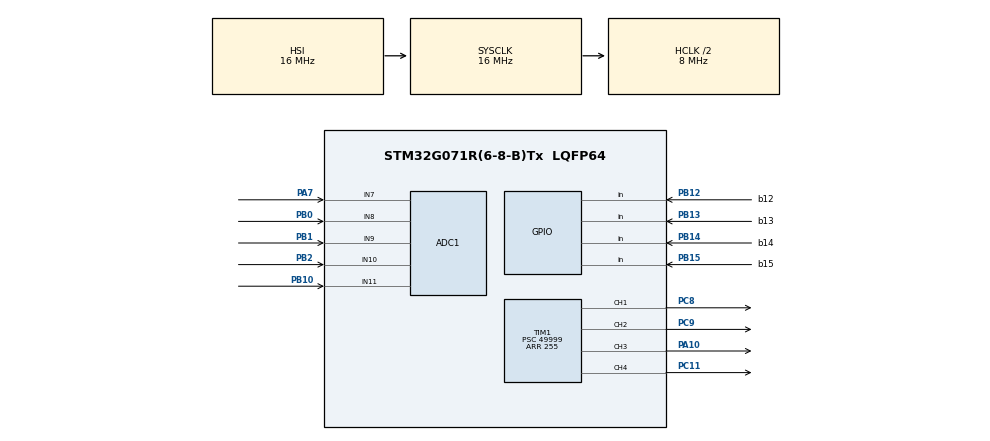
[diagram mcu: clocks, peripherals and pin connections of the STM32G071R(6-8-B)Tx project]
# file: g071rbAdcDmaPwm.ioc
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Mcu.Family=STM32G0
SH.S_TIM1_CH4.0=TIM1_CH4,PWM Generation4 CH4
RCC.CortexFreq_Value=8000000
PB10.Mode=IN11
ADC1.ContinuousConvMode=ENABLE
Dma.ADC1.0.Polarity=HAL_DMAMUX_REQ_GEN_RISING
PB14.GPIO_Label=b14
PA14-BOOT0.Mode=Serial_Wire
PC15-OSC32_OUT\ (PC15).Mode=LSE-External-Oscillator
PB13.GPIO_Label=b13
PB13.Signal=GPIO_Input
PB15.Signal=GPIO_Input
PF0-OSC_IN\ (PF0).Signal=RCC_OSC_IN
ProjectManager.StackSize=0x400
PC14-OSC32_IN\ (PC14).Mode=LSE-External-Oscillator
TIM1.Prescaler=49999
ADC1.Channel-5\#ChannelRegularConversion=ADC_CHANNEL_11
TIM1.Channel-PWM\ Generation4\ CH4=TIM_CHANNEL_4
ADC1.Channel-3\#ChannelRegularConversion=ADC_CHANNEL_9
RCC.HCLKFreq_Value=8000000
Dma.ADC1.0.Direction=DMA_PERIPH_TO_MEMORY
ADC1.Channel-2\#ChannelRegularConversion=ADC_CHANNEL_8
Dma.ADC1.0.MemDataAlignment=DMA_MDATAALIGN_WORD
RCC.AHBFreq_Value=8000000
PA14-BOOT0.Signal=SYS_SWCLK
RCC.HSE_VALUE=8000000
PB2.Signal=ADC1_IN10
PB12.GPIO_Label=b12
ADC1.SamplingTime-4\#ChannelRegularConversion=ADC_SAMPLINGTIME_COMMON_1
ADC1.Rank-2\#ChannelRegularConversion=2
TIM1.Channel-PWM\ Generation1\ CH1=TIM_CHANNEL_1
Dma.ADC1.0.PeriphInc=DMA_PINC_DISABLE
VP_SYS_VS_DBSignals.Mode=DisableDeadBatterySignals
ADC1.SelectedChannel=ADC_CHANNEL_7|ADC_CHANNEL_8|ADC_CHANNEL_9|ADC_CHANNEL_10|ADC_CHANNEL_11
Mcu.Package=LQFP64
PB1.Signal=ADC1_IN9
PA10.Signal=S_TIM1_CH3
TIM1.Period=255
Dma.Request0=ADC1
ADC1.EOCSelection=ADC_EOC_SEQ_CONV
Dma.ADC1.0.EventEnable=DISABLE
ADC1.Rank-4\#ChannelRegularConversion=4
Dma.ADC1.0.Instance=DMA1_Channel1
PA7.Mode=IN7
ADC1.Channel-4\#ChannelRegularConversion=ADC_CHANNEL_10
Dma.ADC1.0.SyncRequestNumber=1
PC11.Signal=S_TIM1_CH4
PC8.Signal=S_TIM1_CH1
RCC.EXTERNAL_CLOCK_VALUE=12288000
PC15-OSC32_OUT\ (PC15).Signal=RCC_OSC32_OUT
ADC1.SamplingTime-2\#ChannelRegularConversion=ADC_SAMPLINGTIME_COMMON_1
PF0-OSC_IN\ (PF0).Mode=HSE-External-Clock-Source
PA13.Signal=SYS_SWDIO
Dma.ADC1.0.PeriphDataAlignment=DMA_PDATAALIGN_WORD
SH.S_TIM1_CH1.0=TIM1_CH1,PWM Generation1 CH1
ProjectManager.TargetToolchain=STM32CubeIDE
Dma.ADC1.0.Mode=DMA_CIRCULAR
Dma.ADC1.0.SignalID=NONE
Dma.ADC1.0.SyncSignalID=NONE
Dma.ADC1.0.Priority=DMA_PRIORITY_LOW
ADC1.Channel-1\#ChannelRegularConversion=ADC_CHANNEL_7
TIM1.Channel-PWM\ Generation2\ CH2=TIM_CHANNEL_2
PB10.Signal=ADC1_IN11
PB14.Signal=GPIO_Input
PB0.Mode=IN8
board=NUCLEO-G071RB
RCC.VCOOutputFreq_Value=128000000
Dma.ADC1.0.SyncPolarity=HAL_DMAMUX_SYNC_NO_EVENT
SH.S_TIM1_CH2.0=TIM1_CH2,PWM Generation2 CH2
PB15.GPIO_Label=b15
RCC.AHBCLKDivider=RCC_SYSCLK_DIV2
ADC1.DMAContinuousRequests=ENABLE
ADC1.NbrOfConversion=5
PA13.Mode=Serial_Wire
Mcu.Name=STM32G071R(6-8-B)Tx
ADC1.SamplingTime-1\#ChannelRegularConversion=ADC_SAMPLINGTIME_COMMON_1
RCC.SYSCLKFreq_VALUE=16000000
ADC1.master=1
ADC1.Rank-3\#ChannelRegularConversion=3
ADC1.SamplingTime-3\#ChannelRegularConversion=ADC_SAMPLINGTIME_COMMON_1
PC14-OSC32_IN\ (PC14).Signal=RCC_OSC32_IN
PB2.Mode=IN10
ADC1.Rank-1\#ChannelRegularConversion=1
Dma.ADC1.0.RequestNumber=1
Dma.ADC1.0.SyncEnable=DISABLE
Dma.ADC1.0.MemInc=DMA_MINC_ENABLE
ProjectManager.HeapSize=0x200
PB1.Mode=IN9
SH.S_TIM1_CH3.0=TIM1_CH3,PWM Generation3 CH3
ADC1.SamplingTime-5\#ChannelRegularConversion=ADC_SAMPLINGTIME_COMMON_1
RCC.HSI_VALUE=16000000
ADC1.NbrOfConversionFlag=1
PC9.Signal=S_TIM1_CH2
NVIC.DMA1_Channel1_IRQn=true\:0\:0\:false\:false\:true\:false\:true
TIM1.Channel-PWM\ Generation3\ CH3=TIM_CHANNEL_3
PB0.Signal=ADC1_IN8
ADC1.Rank-5\#ChannelRegularConversion=5
PB12.Signal=GPIO_Input
PA7.Signal=ADC1_IN7

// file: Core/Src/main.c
/* USER CODE BEGIN Header */
/**
 ******************************************************************************
 * @file           : main.c
 * @brief          : Main program body
 ******************************************************************************
 * @attention
 *
 * <h2><center>&copy; Copyright (c) 2021 STMicroelectronics.
 * All rights reserved.</center></h2>
 *
 * This software component is licensed by ST under BSD 3-Clause license,
 * the "License"; You may not use this file except in compliance with the
 * License. You may obtain a copy of the License at:
 *                        opensource.org/licenses/BSD-3-Clause
 *
 ******************************************************************************
 */
/* USER CODE END Header */
#include "main.h"

/* USER CODE BEGIN PD */
/* map fonksiyonunun çıktı tipini belirler */
#define map_type_out uint8_t
/* map fonksiyonunun giriş tipini belirler */
#define map_type_in uint32_t
/* adc kanal sayısını belirler */
#define adc_chnl_num 5
/* timer kanal sayısını belirler */
#define tim_chnl_num 4
/* USER CODE END PD */

ADC_HandleTypeDef hadc1;
DMA_HandleTypeDef hdma_adc1;

TIM_HandleTypeDef htim1;

/* USER CODE BEGIN PV */
/* adc kanal sayısı kadar elemana sahip map fonksiyonunun girişi tipinde array belirler */
map_type_in adc[adc_chnl_num];
/* adc kanal sayısı kadar elemana sahip map fonksiyonunun çıkışı tipinde array belirler */
map_type_out deger[adc_chnl_num];
/* timer kanallarını içeren array */
uint32_t tim_chnl[tim_chnl_num]={TIM_CHANNEL_1,TIM_CHANNEL_2,TIM_CHANNEL_3,TIM_CHANNEL_4};
/* pwm çıkışını okuyan timer kanal sayısı kadar değere sahip array */
int tim_chnl_pin[tim_chnl_num];
/* gpion pinlerini içeren array */
uint16_t gpio_read_pin[tim_chnl_num]={b12_Pin,b13_Pin,b14_Pin,b15_Pin};
/* USER CODE END PV */

void SystemClock_Config(void);
static void MX_GPIO_Init(void);
static void MX_DMA_Init(void);
static void MX_ADC1_Init(void);
static void MX_TIM1_Init(void);
/* USER CODE BEGIN PFP */
/* adc tarama tamamlandı fonksiyonu */
void HAL_ADC_ConvCpltCallback(ADC_HandleTypeDef* hadc);
/* bir değerin sınırlarını değiştirmeye yarayan fonksiyon */
map_type_out map(map_type_in value, map_type_in iMin, map_type_in iMax, map_type_out oMin, map_type_out oMax);
/* USER CODE END PFP */

int main(void)
{

	/* MCU Configuration--------------------------------------------------------*/

	/* Reset of all peripherals, Initializes the Flash interface and the Systick. */
	HAL_Init();

	/* Configure the system clock */
	SystemClock_Config();

	/* Initialize all configured peripherals */
	MX_GPIO_Init();
	MX_DMA_Init();
	MX_ADC1_Init();
	MX_TIM1_Init();
	/* USER CODE BEGIN 2 */
	/* adc modülünü dma ile başlatma */
	HAL_ADC_Start_DMA(&hadc1, adc, adc_chnl_num);
	/* timer 1 içinde 4 adet kanalı pwm modunda başlatma */
	for (int i=0;i<tim_chnl_num;i++)
	{
		HAL_TIM_PWM_Start(&htim1, tim_chnl[i]);
	}
	/* USER CODE END 2 */

	/* Infinite loop */
	while (1)
	{

	}
}

void SystemClock_Config(void)
{
	RCC_OscInitTypeDef RCC_OscInitStruct = {0};
	RCC_ClkInitTypeDef RCC_ClkInitStruct = {0};
	RCC_PeriphCLKInitTypeDef PeriphClkInit = {0};

	/** Configure the main internal regulator output voltage
	 */
	HAL_PWREx_ControlVoltageScaling(PWR_REGULATOR_VOLTAGE_SCALE1);
	/** Initializes the RCC Oscillators according to the specified parameters
	 * in the RCC_OscInitTypeDef structure.
	 */
	RCC_OscInitStruct.OscillatorType = RCC_OSCILLATORTYPE_HSI;
	RCC_OscInitStruct.HSIState = RCC_HSI_ON;
	RCC_OscInitStruct.HSIDiv = RCC_HSI_DIV1;
	RCC_OscInitStruct.HSICalibrationValue = RCC_HSICALIBRATION_DEFAULT;
	RCC_OscInitStruct.PLL.PLLState = RCC_PLL_NONE;
	if (HAL_RCC_OscConfig(&RCC_OscInitStruct) != HAL_OK)
	{
		Error_Handler();
	}
	/** Initializes the CPU, AHB and APB buses clocks
	 */
	RCC_ClkInitStruct.ClockType = RCC_CLOCKTYPE_HCLK|RCC_CLOCKTYPE_SYSCLK
			|RCC_CLOCKTYPE_PCLK1;
	RCC_ClkInitStruct.SYSCLKSource = RCC_SYSCLKSOURCE_HSI;
	RCC_ClkInitStruct.AHBCLKDivider = RCC_SYSCLK_DIV2;
	RCC_ClkInitStruct.APB1CLKDivider = RCC_HCLK_DIV1;

	if (HAL_RCC_ClockConfig(&RCC_ClkInitStruct, FLASH_LATENCY_0) != HAL_OK)
	{
		Error_Handler();
	}
	/** Initializes the peripherals clocks
	 */
	PeriphClkInit.PeriphClockSelection = RCC_PERIPHCLK_ADC|RCC_PERIPHCLK_TIM1;
	PeriphClkInit.AdcClockSelection = RCC_ADCCLKSOURCE_SYSCLK;
	PeriphClkInit.Tim1ClockSelection = RCC_TIM1CLKSOURCE_PCLK1;
	if (HAL_RCCEx_PeriphCLKConfig(&PeriphClkInit) != HAL_OK)
	{
		Error_Handler();
	}
}

static void MX_ADC1_Init(void)
{

	ADC_ChannelConfTypeDef sConfig = {0};

	/** Configure the global features of the ADC (Clock, Resolution, Data Alignment and number of conversion)
	 */
	hadc1.Instance = ADC1;
	hadc1.Init.ClockPrescaler = ADC_CLOCK_SYNC_PCLK_DIV2;
	hadc1.Init.Resolution = ADC_RESOLUTION_12B;
	hadc1.Init.DataAlign = ADC_DATAALIGN_RIGHT;
	hadc1.Init.ScanConvMode = ADC_SCAN_ENABLE;
	hadc1.Init.EOCSelection = ADC_EOC_SEQ_CONV;
	hadc1.Init.LowPowerAutoWait = DISABLE;
	hadc1.Init.LowPowerAutoPowerOff = DISABLE;
	hadc1.Init.ContinuousConvMode = ENABLE;
	hadc1.Init.NbrOfConversion = 5;
	hadc1.Init.DiscontinuousConvMode = DISABLE;
	hadc1.Init.ExternalTrigConv = ADC_SOFTWARE_START;
	hadc1.Init.ExternalTrigConvEdge = ADC_EXTERNALTRIGCONVEDGE_NONE;
	hadc1.Init.DMAContinuousRequests = ENABLE;
	hadc1.Init.Overrun = ADC_OVR_DATA_PRESERVED;
	hadc1.Init.SamplingTimeCommon1 = ADC_SAMPLETIME_1CYCLE_5;
	hadc1.Init.SamplingTimeCommon2 = ADC_SAMPLETIME_1CYCLE_5;
	hadc1.Init.OversamplingMode = DISABLE;
	hadc1.Init.TriggerFrequencyMode = ADC_TRIGGER_FREQ_HIGH;
	if (HAL_ADC_Init(&hadc1) != HAL_OK)
	{
		Error_Handler();
	}
	/** Configure Regular Channel
	 */
	sConfig.Channel = ADC_CHANNEL_7;
	sConfig.Rank = ADC_REGULAR_RANK_1;
	sConfig.SamplingTime = ADC_SAMPLINGTIME_COMMON_1;
	if (HAL_ADC_ConfigChannel(&hadc1, &sConfig) != HAL_OK)
	{
		Error_Handler();
	}
	/** Configure Regular Channel
	 */
	sConfig.Channel = ADC_CHANNEL_8;
	sConfig.Rank = ADC_REGULAR_RANK_2;
	if (HAL_ADC_ConfigChannel(&hadc1, &sConfig) != HAL_OK)
	{
		Error_Handler();
	}
	/** Configure Regular Channel
	 */
	sConfig.Channel = ADC_CHANNEL_9;
	sConfig.Rank = ADC_REGULAR_RANK_3;
	if (HAL_ADC_ConfigChannel(&hadc1, &sConfig) != HAL_OK)
	{
		Error_Handler();
	}
	/** Configure Regular Channel
	 */
	sConfig.Channel = ADC_CHANNEL_10;
	sConfig.Rank = ADC_REGULAR_RANK_4;
	if (HAL_ADC_ConfigChannel(&hadc1, &sConfig) != HAL_OK)
	{
		Error_Handler();
	}
	/** Configure Regular Channel
	 */
	sConfig.Channel = ADC_CHANNEL_11;
	sConfig.Rank = ADC_REGULAR_RANK_5;
	if (HAL_ADC_ConfigChannel(&hadc1, &sConfig) != HAL_OK)
	{
		Error_Handler();
	}

}

static void MX_TIM1_Init(void)
{

	TIM_MasterConfigTypeDef sMasterConfig = {0};
	TIM_OC_InitTypeDef sConfigOC = {0};
	TIM_BreakDeadTimeConfigTypeDef sBreakDeadTimeConfig = {0};

	htim1.Instance = TIM1;
	htim1.Init.Prescaler = 49999;
	htim1.Init.CounterMode = TIM_COUNTERMODE_UP;
	htim1.Init.Period = 255;
	htim1.Init.ClockDivision = TIM_CLOCKDIVISION_DIV1;
	htim1.Init.RepetitionCounter = 0;
	htim1.Init.AutoReloadPreload = TIM_AUTORELOAD_PRELOAD_DISABLE;
	if (HAL_TIM_PWM_Init(&htim1) != HAL_OK)
	{
		Error_Handler();
	}
	sMasterConfig.MasterOutputTrigger = TIM_TRGO_RESET;
	sMasterConfig.MasterOutputTrigger2 = TIM_TRGO2_RESET;
	sMasterConfig.MasterSlaveMode = TIM_MASTERSLAVEMODE_DISABLE;
	if (HAL_TIMEx_MasterConfigSynchronization(&htim1, &sMasterConfig) != HAL_OK)
	{
		Error_Handler();
	}
	sConfigOC.OCMode = TIM_OCMODE_PWM1;
	sConfigOC.Pulse = 0;
	sConfigOC.OCPolarity = TIM_OCPOLARITY_HIGH;
	sConfigOC.OCNPolarity = TIM_OCNPOLARITY_HIGH;
	sConfigOC.OCFastMode = TIM_OCFAST_DISABLE;
	sConfigOC.OCIdleState = TIM_OCIDLESTATE_RESET;
	sConfigOC.OCNIdleState = TIM_OCNIDLESTATE_RESET;
	if (HAL_TIM_PWM_ConfigChannel(&htim1, &sConfigOC, TIM_CHANNEL_1) != HAL_OK)
	{
		Error_Handler();
	}
	if (HAL_TIM_PWM_ConfigChannel(&htim1, &sConfigOC, TIM_CHANNEL_2) != HAL_OK)
	{
		Error_Handler();
	}
	if (HAL_TIM_PWM_ConfigChannel(&htim1, &sConfigOC, TIM_CHANNEL_3) != HAL_OK)
	{
		Error_Handler();
	}
	if (HAL_TIM_PWM_ConfigChannel(&htim1, &sConfigOC, TIM_CHANNEL_4) != HAL_OK)
	{
		Error_Handler();
	}
	sBreakDeadTimeConfig.OffStateRunMode = TIM_OSSR_DISABLE;
	sBreakDeadTimeConfig.OffStateIDLEMode = TIM_OSSI_DISABLE;
	sBreakDeadTimeConfig.LockLevel = TIM_LOCKLEVEL_OFF;
	sBreakDeadTimeConfig.DeadTime = 0;
	sBreakDeadTimeConfig.BreakState = TIM_BREAK_DISABLE;
	sBreakDeadTimeConfig.BreakPolarity = TIM_BREAKPOLARITY_HIGH;
	sBreakDeadTimeConfig.BreakFilter = 0;
	sBreakDeadTimeConfig.BreakAFMode = TIM_BREAK_AFMODE_INPUT;
	sBreakDeadTimeConfig.Break2State = TIM_BREAK2_DISABLE;
	sBreakDeadTimeConfig.Break2Polarity = TIM_BREAK2POLARITY_HIGH;
	sBreakDeadTimeConfig.Break2Filter = 0;
	sBreakDeadTimeConfig.Break2AFMode = TIM_BREAK_AFMODE_INPUT;
	sBreakDeadTimeConfig.AutomaticOutput = TIM_AUTOMATICOUTPUT_DISABLE;
	if (HAL_TIMEx_ConfigBreakDeadTime(&htim1, &sBreakDeadTimeConfig) != HAL_OK)
	{
		Error_Handler();
	}
	HAL_TIM_MspPostInit(&htim1);

}

static void MX_DMA_Init(void)
{

	/* DMA controller clock enable */
	__HAL_RCC_DMA1_CLK_ENABLE();

	/* DMA interrupt init */
	/* DMA1_Channel1_IRQn interrupt configuration */
	HAL_NVIC_SetPriority(DMA1_Channel1_IRQn, 0, 0);
	HAL_NVIC_EnableIRQ(DMA1_Channel1_IRQn);

}

static void MX_GPIO_Init(void)
{
	GPIO_InitTypeDef GPIO_InitStruct = {0};

	/* GPIO Ports Clock Enable */
	__HAL_RCC_GPIOC_CLK_ENABLE();
	__HAL_RCC_GPIOF_CLK_ENABLE();
	__HAL_RCC_GPIOA_CLK_ENABLE();
	__HAL_RCC_GPIOB_CLK_ENABLE();

	/*Configure GPIO pins : b12_Pin b13_Pin b14_Pin b15_Pin */
	GPIO_InitStruct.Pin = b12_Pin|b13_Pin|b14_Pin|b15_Pin;
	GPIO_InitStruct.Mode = GPIO_MODE_INPUT;
	GPIO_InitStruct.Pull = GPIO_NOPULL;
	HAL_GPIO_Init(GPIOB, &GPIO_InitStruct);

}

/* USER CODE BEGIN 4 */
/* adc çevrimi tamamlandığında çağrılan fonksiyon */
void HAL_ADC_ConvCpltCallback(ADC_HandleTypeDef* hadc)
{
	/* okunan adc değerlerinin sınırlarını  map fonksiyonu yardımıyla değiştirme */
	for (int i=0;i<adc_chnl_num;i++)
	{
		/* dma tarafından kayıt edilen değerlerin sınırlarını 0-4095 aralığından 0-255 aralığına değiştirme */
		deger[i]=map(adc[i],0,4095,0,255);
	}
	/* pwm çıkışlarını güncelleme */
	for (int i=0;i<tim_chnl_num;i++)
	{
		/* tim_chnl dizisindeki kanalları tek tek yerine yazma */
		__HAL_TIM_SET_COMPARE(&htim1,tim_chnl[i],deger[i]);
	}
	/* pwm değerlerini okuma */
	for (int i=0;i<tim_chnl_num;i++)
	{
		/* gpio okuması yaparak değer ölçümü yapma */
		tim_chnl_pin[i]=HAL_GPIO_ReadPin(GPIOB, gpio_read_pin[i]);
	}
}
/**
  * @brief  Verilen değerin sınırlarını değiştirir
  * @note   HAL kütüphanesinde bulunmaz
  * @param  value : Çevrilecek değer
  * @param	iMin : Verilen değerin alt sınırı
  * @param	iMax : Verilen değerin üst sınırı
  * @param	oMin : Çevrilecek en küçük sınır
  * @param	oMax : Çevrilecek en büyük sınır
  * @retval Çevrim sonucu oMin ve oMax aralığında value değerinin karşılığı
  * */
map_type_out map(map_type_in value, map_type_in iMin, map_type_in iMax, map_type_out oMin, map_type_out oMax)
{
	/* çevrimi yapan matematiksel işlem */
	return (value-iMin)*(oMax-oMin)/(iMax-iMin)+oMin;
}
/* USER CODE END 4 */

void Error_Handler(void)
{
	__disable_irq();
	while (1)
	{
	}
}

/************************ (C) COPYRIGHT STMicroelectronics *****END OF FILE****/
